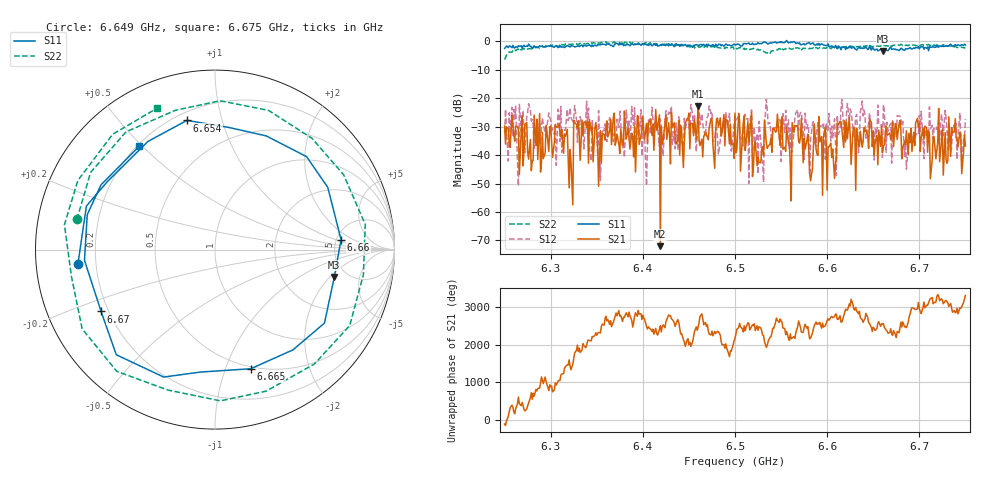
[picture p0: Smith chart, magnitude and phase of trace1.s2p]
# Hz S RI R 50
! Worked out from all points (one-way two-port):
!   401 points, 6.25 GHz to 6.75 GHz, reference 50 ohm
!   highest |S21| = -22.82 dB at 6.46 GHz (marker M1); lowest = -72.0 dB at 6.419 GHz (marker M2)
!   lowest |S11| = -3.3 dB at 6.661 GHz (marker M3), VSWR 5.29, Z = 197 - j113 ohm
!   |S11| at or under -10 dB: nowhere
!   |S22| runs from -6.4 to -0.1 dB; largest |S21 - S12| = 0.13
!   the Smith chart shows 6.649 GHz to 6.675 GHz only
!   S11 on the Smith chart (normalised r, x): 6.649 GHz: 0.13, -0.05; 6.654 GHz: 0.25, +0.78; 6.66 GHz: 5.49, +1.21; 6.665 GHz: 0.48, -1.23; 6.67 GHz: 0.17, -0.25; 6.675 GHz: 0.21, +0.49
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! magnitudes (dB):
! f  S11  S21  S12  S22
! 6.25 GHz  -2.4  -29.7  -32.2  -6.4
! 6.279 GHz  -1.7  -45.5  -28.1  -2.6
! 6.308 GHz  -2.2  -30.1  -23.9  -1.6
! 6.321 GHz  -2.0  -38.1  -23.3  -1.1
! 6.334 GHz  -1.3  -27.6  -30.2  -0.6
! 6.418 GHz  -1.5  -25.9  -36.8  -1.2
! 6.419 GHz  -1.2  -72.0  -27.3  -1.0
! 6.46 GHz  -1.3  -22.8  -31.7  -1.7
! 6.5 GHz  -1.3  -25.2  -26.4  -2.4
! 6.53 GHz  -0.5  -37.1  -42.3  -3.4
! 6.535 GHz  -0.8  -37.6  -24.0  -4.1
! 6.565 GHz  -0.3  -29.6  -26.6  -2.7
! 6.584 GHz  -0.6  -44.8  -29.3  -2.4
! 6.649 GHz  -2.3  -37.1  -32.2  -2.1
! 6.654 GHz  -2.7  -33.0  -32.7  -1.6
! 6.66 GHz  -3.0  -39.1  -40.8  -1.5
! 6.661 GHz  -3.3  -36.9  -22.2  -1.3
! 6.665 GHz  -3.2  -33.1  -28.4  -1.5
! 6.668 GHz  -2.3  -32.2  -29.5  -1.2
! 6.67 GHz  -2.8  -33.2  -42.8  -1.8
! 6.675 GHz  -2.9  -29.5  -33.4  -1.4
! 6.75 GHz  -1.3  -36.8  -27.3  -2.4
